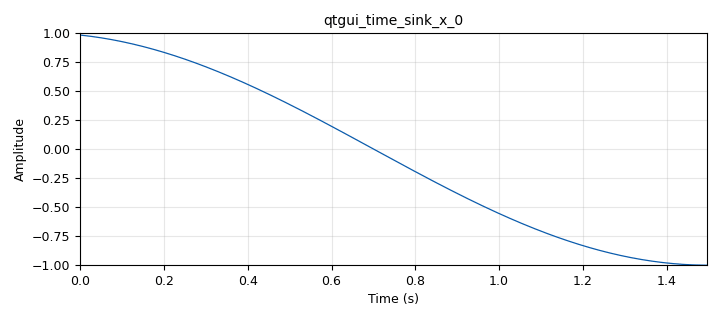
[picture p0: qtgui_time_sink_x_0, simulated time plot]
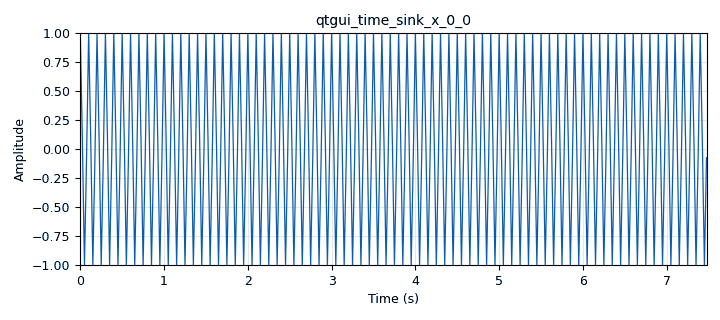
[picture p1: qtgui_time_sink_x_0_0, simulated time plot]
options:
  parameters:
    author: user
    generate_options: qt_gui
    id: EjercicioMuestreo
    output_language: python
    title: Not titled yet
  states: {}

blocks:
- name: samp_rate
  id: variable
  parameters:
    value: '32000'
  states: {}
- name: analog_sig_source_x_0
  id: analog_sig_source_x
  parameters:
    amp: '1'
    freq: '50'
    offset: '0'
    phase: '0'
    samp_rate: samp_rate
    type: float
    waveform: analog.GR_COS_WAVE
  states: {}
- name: analog_sig_source_x_0_0
  id: analog_sig_source_x
  parameters:
    amp: '1'
    freq: '50'
    offset: '0'
    phase: '0'
    samp_rate: '40'
    type: float
    waveform: analog.GR_COS_WAVE
  states: {}
- name: blocks_throttle_0
  id: blocks_throttle
  parameters:
    samples_per_second: samp_rate
    type: float
  states: {}
- name: blocks_throttle_0_0
  id: blocks_throttle
  parameters:
    samples_per_second: samp_rate
    type: float
  states: {}
- name: qtgui_time_sink_x_0
  id: qtgui_time_sink_x
  parameters:
    grid: 'True'
    size: '300'
    srate: '200'
    type: float
  states: {}
- name: qtgui_time_sink_x_0_0
  id: qtgui_time_sink_x
  parameters:
    grid: 'True'
    size: '300'
    srate: '40'
    type: float
  states: {}

connections:
- [analog_sig_source_x_0, '0', blocks_throttle_0, '0']
- [analog_sig_source_x_0_0, '0', blocks_throttle_0_0, '0']
- [blocks_throttle_0, '0', qtgui_time_sink_x_0, '0']
- [blocks_throttle_0_0, '0', qtgui_time_sink_x_0_0, '0']

metadata:
  file_format: 1
  grc_version: 3.10.12.0
